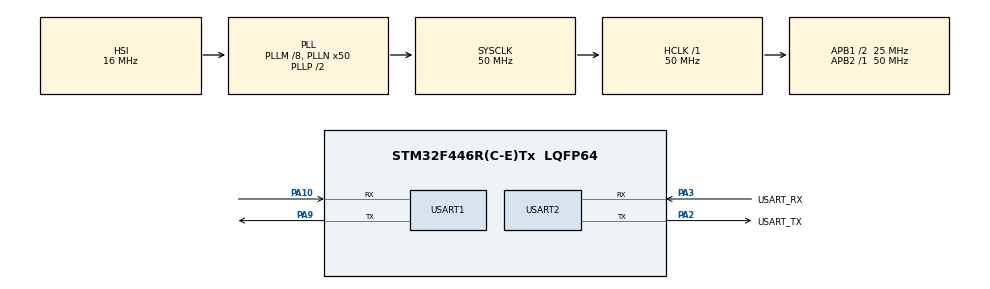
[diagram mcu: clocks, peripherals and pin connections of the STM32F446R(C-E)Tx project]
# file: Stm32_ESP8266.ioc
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Mcu.Family=STM32F4
Mcu.Name=STM32F446R(C-E)Tx
Mcu.Package=LQFP64
NVIC.PriorityGroup=NVIC_PRIORITYGROUP_0
NVIC.USART1_IRQn=true\:0\:0\:false\:false\:true\:true\:true\:true
NVIC.USART2_IRQn=true\:0\:0\:false\:false\:true\:true\:true\:true
PA10.Mode=Asynchronous
PA10.Signal=USART1_RX
PA13.GPIO_Label=TMS
PA13.Mode=Serial_Wire
PA13.Signal=SYS_JTMS-SWDIO
PA14.GPIO_Label=TCK
PA14.Mode=Serial_Wire
PA14.Signal=SYS_JTCK-SWCLK
PA2.GPIO_Label=USART_TX
PA2.Mode=Asynchronous
PA2.Signal=USART2_TX
PA3.GPIO_Label=USART_RX
PA3.Mode=Asynchronous
PA3.Signal=USART2_RX
PA9.Mode=Asynchronous
PA9.Signal=USART1_TX
PB3.GPIO_Label=SWO
PB3.Signal=SYS_JTDO-SWO
PC14-OSC32_IN.Mode=LSE-External-Oscillator
PC14-OSC32_IN.Signal=RCC_OSC32_IN
PC15-OSC32_OUT.Mode=LSE-External-Oscillator
PC15-OSC32_OUT.Signal=RCC_OSC32_OUT
PH0-OSC_IN.Mode=HSE-External-Oscillator
PH0-OSC_IN.Signal=RCC_OSC_IN
PH1-OSC_OUT.Mode=HSE-External-Oscillator
PH1-OSC_OUT.Signal=RCC_OSC_OUT
ProjectManager.HeapSize=0x200
ProjectManager.StackSize=0x400
ProjectManager.TargetToolchain=STM32CubeIDE
RCC.48MHZClocksFreq_Value=84000000
RCC.AHBFreq_Value=50000000
RCC.APB1CLKDivider=RCC_HCLK_DIV2
RCC.APB1Freq_Value=25000000
RCC.APB1TimFreq_Value=50000000
RCC.APB2Freq_Value=50000000
RCC.APB2TimFreq_Value=50000000
RCC.CortexFreq_Value=50000000
RCC.FLatency-AdvancedSettings=FLASH_LATENCY_1
RCC.HCLKFreq_Value=50000000
RCC.HSE_VALUE=8000000
RCC.HSI_VALUE=16000000
RCC.PLLM=8
RCC.PLLN=50
RCC.SYSCLKFreq_VALUE=50000000
RCC.SYSCLKSource=RCC_SYSCLKSOURCE_PLLCLK
RCC.USBFreq_Value=50000000
RCC.VCOOutputFreq_Value=100000000
USART1.VirtualMode=VM_ASYNC
USART2.VirtualMode=VM_ASYNC
board=NUCLEO-F446RE

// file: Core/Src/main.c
/* USER CODE BEGIN Header */
/**
  ******************************************************************************
  * @file           : main.c
  * @brief          : Main program body
  ******************************************************************************
  * @attention
  *
  * Copyright (c) 2023 STMicroelectronics.
  * All rights reserved.
  *
  * This software is licensed under terms that can be found in the LICENSE file
  * in the root directory of this software component.
  * If no LICENSE file comes with this software, it is provided AS-IS.
  *
  ******************************************************************************
  */
/* USER CODE END Header */
#include "main.h"
#include "string.h"
#include "stm32f4xx.h"
#include "stm32f4xx_hal.h"
#include <stdlib.h>

UART_HandleTypeDef huart1;
UART_HandleTypeDef huart2;

void SystemClock_Config(void);
static void MX_GPIO_Init(void);
static void MX_USART2_UART_Init(void);
static void MX_USART1_UART_Init(void);

/* USER CODE BEGIN 0 */
const char API_KEY[] = "RZCYFBZ8JC6HWCMU";

/* USER CODE END 0 */

uint8_t dhtval[2];
uint8_t rxTemBuf[1]; 		/// receiver byte buffer
uint8_t Buf[200];			/// temporary buffer

uint8_t Buf_pc[200];
uint8_t	rxTemBuf_pc[1];

uint8_t idx = 0;				/// buffer index
uint8_t idx_pc =0;

uint32_t Holder=0;
uint32_t uart_interrupt_counter =0;

uint8_t sending=0;
uint8_t Esp_will_answer = 0;
uint8_t Esp_answered=0;

char pc_receive_bool= 0;

void stm_to_esp(uint8_t* command){
    HAL_UART_Transmit(&huart1, command, strlen((char*)command), 100);
    while(1){
    	  if (Esp_answered==1){
    		HAL_UART_Transmit(&huart2, Buf, sizeof(Buf), 100);	//SEND RECEIVED DATA TO PC. YOU SHOULD SEE ANS=OK
    						  memset(Buf, 0, sizeof(Buf)); // Buffer reset
    						  idx = 0;
    						  Esp_answered=0;
    						  Esp_will_answer=0;
    		break;
    	  }
      }
}

void pc_to_web (void){
			dhtval[0] = atoi(Buf_pc);
			// sending =Buf[0];
			memset(Buf_pc, 0, sizeof(Buf_pc)); // Buffer reset
				  idx_pc = 0;

}

void HAL_UART_RxCpltCallback(UART_HandleTypeDef *huart) /// UART interrupt callback function
{
	if(huart == &huart1)         // UART 1 interrupt receive
	{
			Buf[idx]=rxTemBuf[0];
			idx++;
			Holder=uwTick;
			Esp_will_answer = 1;
			HAL_UART_Receive_IT(&huart1, rxTemBuf, 1);   /// INTERRUPT CREATION
	}

	if(huart == &huart2)    /// UART 2 interrupt receive

	{
		Buf_pc[idx_pc]=rxTemBuf_pc[0];
		idx_pc++;
		Holder=uwTick;
		pc_receive_bool=1;
		HAL_UART_Receive_IT(&huart2, rxTemBuf_pc, 1);   /// INTERRUPT CREATION
	}
}

int main(void)
{
  /* USER CODE BEGIN 1 */
uint8_t buffLen, buffLen2, buffCnt = 0;

dhtval[0] = (uint8_t)0;
dhtval[1] = (uint8_t)0;
char sendBuff[64], sendBuff2[64];
uint8_t AT[] = "AT\r\n"; //=\"RedmiNN\",\"12312312338\"\r\n";  // büyük AT  RN OLMADAN CEVAP VERMıyo
uint8_t AT_RST[] = "AT+RST\r\n"; // AT+RST
uint8_t AT_GMR[] = "AT+GMR\r\n"; // AT+GMR
uint8_t AT_cwmode_sorgula[] = "AT+CWMODE?\r\n"; // AT+CWMODE
uint8_t AT_cwmode_station[] = "AT+CWMODE=1\r\n"; // STATION mode
uint8_t AT_CWLAP_wifitara[] = "AT+CWLAP\r\n"; // wifi tara
uint8_t AT_CWJAP[] = "AT+CWJAP=\"RedmiNN\",\"12312312338\"\r\n"; // telefon ağına baglan
uint8_t AT_CIFSR[] = "AT+CIFSR\r\n"; // ip sorgulama (galiba station modda çalışmıyo AP modda çalışıyor olabilir)
//uint8_t AT_flash_wifi[] = "AT+CWJAP_DEF=\"\""\r\n";  // hafızadaki wifi imiş
uint8_t AT_CWQAP[] = "AT+CWQAP\r\n"; // wifi bağlantısını kes
uint8_t teto[]="teto\r\n";

uint8_t AT_Chip_start[] = "AT+CIPSTART=\"TCP\",\"api.thingspeak.com\",80\r\n";

  /* USER CODE END 1 */
  /* MCU Configuration--------------------------------------------------------*/
  /* Reset of all peripherals, Initializes the Flash interface and the Systick. */
  HAL_Init();
  /* Configure the system clock */
  SystemClock_Config();
  /* Initialize all configured peripherals */
  MX_GPIO_Init();
  /* Enable the GPIOA clock */
  __HAL_RCC_GPIOA_CLK_ENABLE();

  /* Configure the PA5 pin as output */
  GPIO_InitTypeDef GPIO_InitStruct = {0};
  GPIO_InitStruct.Pin = GPIO_PIN_5;
  GPIO_InitStruct.Mode = GPIO_MODE_OUTPUT_PP;
  GPIO_InitStruct.Pull = GPIO_NOPULL;
  GPIO_InitStruct.Speed = GPIO_SPEED_FREQ_LOW;
  HAL_GPIO_Init(GPIOA, &GPIO_InitStruct);

  MX_USART2_UART_Init();
  MX_USART1_UART_Init();
  /* Infinite loop */
  /* USER CODE BEGIN WHILE */
  HAL_SYSTICK_Config(SystemCoreClock / 1000); //HAL_SYSTICK_Config(SystemCoreClock /  1000);

  HAL_UART_Receive_IT(&huart1,rxTemBuf,1);
  HAL_UART_Receive_IT(&huart2, rxTemBuf_pc, 1);
///////////////////////////////////////////////////////////////////////////// ESP - CONFIG /////////////////////////
  //HAL_UART_Transmit(&huart1, AT_RST, sizeof(AT_RST), 100);  // ESP RESET
  //HAL_Delay(2000);
  //PC_transmit_answer();

  stm_to_esp(AT_CWQAP);
  //HAL_UART_Transmit(&huart1, AT_CWQAP, sizeof(AT_CWQAP), 100); /// to ESP
  stm_to_esp(AT_RST);
  //HAL_UART_Transmit(&huart1, AT_CWJAP, sizeof(AT_CWJAP), 100); /// to ESP
  //HAL_Delay(3000);
  stm_to_esp(AT);
  HAL_Delay(5000);

  //PC_transmit_answer();

  //HAL_UART_Transmit(&huart2, AT_Chip_start, sizeof(AT_Chip_start), 100);

  //PC_transmit_answer();

  char first_time =1; /// first time char
  char first_block_waiting=0;
  char skip_initial = 0;
  uint32_t hold_tick =0;
  uint8_t aaaa=15;

  while (1)
  {
    /* USER CODE END WHILE */

	  if (abs((HAL_GetTick()-hold_tick >=20000)) || (first_time == 1) || (first_block_waiting ==1))
	  {
		  first_time=0;

		  if (skip_initial ==0)  ///////////////////////////////////////////////// INITIAL BLOCK ////////////////////////////
		  {
			  HAL_GPIO_TogglePin(GPIOA, GPIO_PIN_5);

	  	  stm_to_esp(AT_Chip_start);

	  	  first_block_waiting =1;
	  	  skip_initial =1;
	  	  hold_tick = HAL_GetTick();

		  }
	  	  ///HAL_Delay(1000);
		  ///////////////////////////////////////////////////////////////////////////////////////////////////////////////

		  if (abs(HAL_GetTick()-hold_tick >=1000)) //////////////////// FIRST BLOCK /////////////////////////////////////
		  {

			  HAL_GPIO_TogglePin(GPIOA, GPIO_PIN_5);

	  	  buffLen = sprintf(sendBuff, "GET /update?api_key=%s&field1=%d&field2=%d\r\n", API_KEY, dhtval[0], dhtval[1]);
	  	  buffLen2 = sprintf(sendBuff2, "AT+CIPSEND=%d\r\n", buffLen);
	  	  stm_to_esp((uint8_t *)sendBuff2);
	  	  stm_to_esp((uint8_t *)sendBuff);

	  	  dhtval[1] += 1;
	  	  // HAL_Delay(20000);

	  	  hold_tick = HAL_GetTick();
	  	  first_block_waiting = 0;
	  	  skip_initial =0;
		  }
		  ///////////////////////////////////////////////////////////////////////////////////////////////////////////////

	 }

    /* USER CODE BEGIN 3 */
/*
//bağlantı kontrol /*
	  HAL_UART_Transmit(&huart1, AT_Chip_start, sizeof(AT_Chip_start), 3000);
	  HAL_UART_Receive(&huart1, rx_data, sizeof(rx_data), 3000);
	  memcpy(rx_copy, rx_data, sizeof rx_copy);
	  HAL_UART_Transmit(&huart2, rx_data, sizeof(rx_data), 3000);
	  HAL_Delay(3000);

	//gonderim
	  buffLen = sprintf(sendBuff, "GET /update?api_key=%s&field1=%d&field2=%d\r\n", API_KEY, dhtval[0], dhtval[1]);
	  buffLen2 = sprintf(sendBuff2, "AT+CIPSEND=%d\r\n", buffLen);

	  HAL_UART_Transmit(&huart1, (uint8_t *)sendBuff2, buffLen2, 3000);
	  HAL_UART_Receive(&huart1, rx_data, sizeof(rx_data), 3000);
	  memcpy(rx_copy, rx_data, sizeof rx_copy);
	  HAL_UART_Transmit(&huart2, rx_data, sizeof(rx_data), 3000);
	  HAL_Delay(3000);

	  HAL_UART_Transmit(&huart1, (uint8_t *)sendBuff, buffLen, 3000);
	  HAL_UART_Receive(&huart1, rx_data, sizeof(rx_data), 3000);
	  memcpy(rx_copy, rx_data, sizeof rx_copy);
	  HAL_UART_Transmit(&huart2, rx_data, sizeof(rx_data), 3000);

	  HAL_Delay(15000); // site bekletiyor thigspeaksin bekletmesi min 15 saniye
	  dhtval[0] += 1;
	  dhtval[1] += 1;

	  */
	  /*

	  HAL_UART_Transmit(&huart1, tx_data, sizeof(tx_data), 3000); // bekleme süresini düzgün yap
	  	     // HAL_UART_Receive(&huart1, rx_data, sizeof(rx_data), 500);
	  	     // HAL_UART_Transmit(&huart2, tx_data, sizeof(tx_data), 500); // Send data to ESP-01 board
	  	          HAL_UART_Receive(&huart1, rx_data, sizeof(rx_data), 3000); // Receive data from ESP-01 board
	  	          memcpy(yazici, rx_data, sizeof yazici);

	  	          HAL_UART_Transmit(&huart2, rx_copy, sizeof(rx_copy), 3000); // bilgisayara gönder
	  	          //HAL_UART_Receive(&huart2, yazici, sizeof(yazici), 1000);
	  	      // Do something with received data here

	  	      HAL_Delay(4000);

*/
	      // uarttaki delaya göre biraz daha düzgün AT+CWLAP sonuçları geliyor
	      //
  }
  /* USER CODE END 3 */
}

void SystemClock_Config(void)
{
  RCC_OscInitTypeDef RCC_OscInitStruct = {0};
  RCC_ClkInitTypeDef RCC_ClkInitStruct = {0};

  /** Configure the main internal regulator output voltage
  */
  __HAL_RCC_PWR_CLK_ENABLE();
  __HAL_PWR_VOLTAGESCALING_CONFIG(PWR_REGULATOR_VOLTAGE_SCALE3);

  /** Initializes the RCC Oscillators according to the specified parameters
  * in the RCC_OscInitTypeDef structure.
  */
  RCC_OscInitStruct.OscillatorType = RCC_OSCILLATORTYPE_HSI;
  RCC_OscInitStruct.HSIState = RCC_HSI_ON;
  RCC_OscInitStruct.HSICalibrationValue = RCC_HSICALIBRATION_DEFAULT;
  RCC_OscInitStruct.PLL.PLLState = RCC_PLL_ON;
  RCC_OscInitStruct.PLL.PLLSource = RCC_PLLSOURCE_HSI;
  RCC_OscInitStruct.PLL.PLLM = 8;
  RCC_OscInitStruct.PLL.PLLN = 50;
  RCC_OscInitStruct.PLL.PLLP = RCC_PLLP_DIV2;
  RCC_OscInitStruct.PLL.PLLQ = 2;
  RCC_OscInitStruct.PLL.PLLR = 2;
  if (HAL_RCC_OscConfig(&RCC_OscInitStruct) != HAL_OK)
  {
    Error_Handler();
  }

  /** Initializes the CPU, AHB and APB buses clocks
  */
  RCC_ClkInitStruct.ClockType = RCC_CLOCKTYPE_HCLK|RCC_CLOCKTYPE_SYSCLK
                              |RCC_CLOCKTYPE_PCLK1|RCC_CLOCKTYPE_PCLK2;
  RCC_ClkInitStruct.SYSCLKSource = RCC_SYSCLKSOURCE_PLLCLK;
  RCC_ClkInitStruct.AHBCLKDivider = RCC_SYSCLK_DIV1;
  RCC_ClkInitStruct.APB1CLKDivider = RCC_HCLK_DIV2;
  RCC_ClkInitStruct.APB2CLKDivider = RCC_HCLK_DIV1;

  if (HAL_RCC_ClockConfig(&RCC_ClkInitStruct, FLASH_LATENCY_1) != HAL_OK)
  {
    Error_Handler();
  }
}

static void MX_USART1_UART_Init(void)
{

  huart1.Instance = USART1;
  huart1.Init.BaudRate = 115200;
  huart1.Init.WordLength = UART_WORDLENGTH_8B;
  huart1.Init.StopBits = UART_STOPBITS_1;
  huart1.Init.Parity = UART_PARITY_NONE;
  huart1.Init.Mode = UART_MODE_TX_RX;
  huart1.Init.HwFlowCtl = UART_HWCONTROL_NONE;
  huart1.Init.OverSampling = UART_OVERSAMPLING_16;
  if (HAL_UART_Init(&huart1) != HAL_OK)
  {
    Error_Handler();
  }

}

static void MX_USART2_UART_Init(void)
{

  huart2.Instance = USART2;
  huart2.Init.BaudRate = 115200;
  huart2.Init.WordLength = UART_WORDLENGTH_8B;
  huart2.Init.StopBits = UART_STOPBITS_1;
  huart2.Init.Parity = UART_PARITY_NONE;
  huart2.Init.Mode = UART_MODE_TX_RX;
  huart2.Init.HwFlowCtl = UART_HWCONTROL_NONE;
  huart2.Init.OverSampling = UART_OVERSAMPLING_16;
  if (HAL_UART_Init(&huart2) != HAL_OK)
  {
    Error_Handler();
  }

}

static void MX_GPIO_Init(void)
{

  /* GPIO Ports Clock Enable */
  __HAL_RCC_GPIOC_CLK_ENABLE();
  __HAL_RCC_GPIOH_CLK_ENABLE();
  __HAL_RCC_GPIOA_CLK_ENABLE();
  __HAL_RCC_GPIOB_CLK_ENABLE();

}

void Error_Handler(void)
{
  __disable_irq();
  while (1)
  {
  }
}
